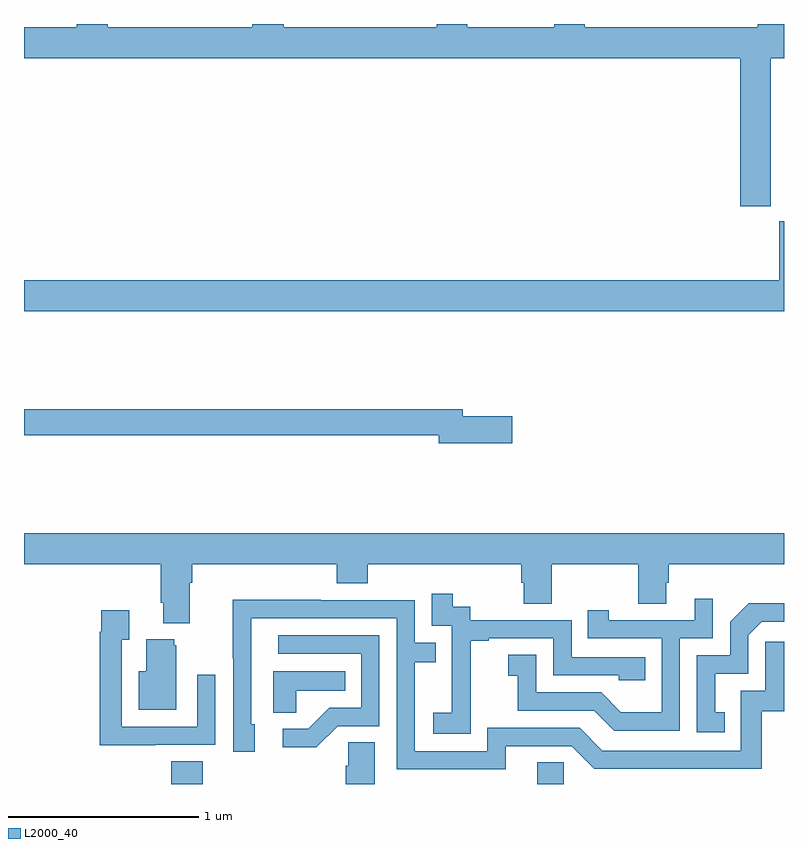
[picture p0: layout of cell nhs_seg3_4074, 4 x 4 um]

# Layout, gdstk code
import gdstk
lib = gdstk.Library(unit=1e-6, precision=1e-09)
def R(c, l, rs):  # rectangles x0, y0, x1, y1
    for r in rs: c.add(gdstk.rectangle(r[:2], r[2:], *l))
def P(c, l, *ps):  # polygons
    for p in ps: c.add(gdstk.Polygon(p, *l))
L2000_40 = (2000, 40)

nhs_seg3_4074 = lib.new_cell('nhs_seg3_4074')
R(nhs_seg3_4074, L2000_40, [(325.775,726.4,325.94,726.521), (327.701,726.4,327.84,726.515)])
P(nhs_seg3_4074, L2000_40, [(328.929,730.22),(329,730.22),(329,730.4),(328.862,730.4),(328.862,730.384),(327.95,730.384),(327.95,730.4),(327.79,730.4),(327.79,730.384),(327.333,730.384),(327.333,730.4),(327.173,730.4),(327.173,730.384),(326.366,730.384),(326.366,730.4),(326.201,730.4),(326.201,730.384),(325.442,730.384),(325.442,730.4),(325.277,730.4),(325.277,730.384),(325,730.384),(325,730.22),(328.769,730.22),(328.769,729.441),(328.929,729.441)],
  [(329,729.361),(328.976,729.361),(328.976,729.052),(325,729.052),(325,728.888),(329,728.888)],
  [(327.571,728.336),(327.31,728.336),(327.31,728.372),(325,728.372),(325,728.236),(327.182,728.236),(327.182,728.194),(327.571,728.194)],
  [(325.873,727.46),(325.886,727.46),(325.886,727.556),(326.645,727.556),(326.645,727.457),(326.81,727.457),(326.81,727.556),(327.617,727.556),(327.617,727.458),(327.629,727.458),(327.629,727.348),(327.777,727.348),(327.777,727.556),(328.234,727.556),(328.234,727.348),(328.381,727.348),(328.381,727.458),(328.394,727.458),(328.394,727.556),(329,727.556),(329,727.72),(325,727.72),(325,727.556),(325.721,727.556),(325.721,727.354),(325.733,727.354),(325.733,727.247),(325.873,727.247)],
  [(327.351,726.871),(327.35,726.871),(327.35,727.155),(327.445,727.155),(327.445,727.167),(327.786,727.167),(327.786,726.972),(328.131,726.972),(328.131,726.945),(328.271,726.945),(328.271,727.068),(327.882,727.068),(327.882,727.263),(327.348,727.263),(327.348,727.332),(327.256,727.332),(327.256,727.402),(327.147,727.402),(327.147,727.233),(327.252,727.233),(327.252,727.004),(327.251,727.004),(327.251,726.775),(327.153,726.775),(327.153,726.665),(327.351,726.665)],
  [(328.452,727.167),(328.626,727.167),(328.626,727.375),(328.529,727.375),(328.529,727.263),(328.078,727.263),(328.078,727.315),(327.967,727.315),(327.967,727.167),(328.356,727.167),(328.356,726.778),(328.142,726.778),(328.038,726.882),(327.696,726.882),(327.696,727.081),(327.549,727.081),(327.549,726.971),(327.598,726.971),(327.598,726.786),(328.001,726.786),(328.106,726.681),(328.452,726.681)],
  [(327.535,726.6),(327.882,726.6),(328.002,726.48),(328.882,726.48),(328.882,726.783),(329,726.783),(329,727.15),(328.902,727.15),(328.902,726.891),(328.773,726.891),(328.773,726.576),(328.044,726.576),(327.924,726.696),(327.438,726.696),(327.438,726.573),(327.057,726.573),(327.057,727.042),(327.167,727.042),(327.167,727.143),(327.057,727.143),(327.057,727.368),(326.561,727.368),(326.561,727.37),(326.098,727.37),(326.098,727.063),(326.1,727.063),(326.1,726.57),(326.215,726.57),(326.215,726.714),(326.196,726.714),(326.196,727.272),(326.961,727.272),(326.961,726.477),(327.535,726.477)],
  [(328.688,726.777),(328.639,726.777),(328.639,726.981),(328.812,726.981),(328.812,727.182),(328.884,727.254),(329,727.254),(329,727.352),(328.814,727.352),(328.716,727.254),(328.716,727.077),(328.542,727.077),(328.542,726.672),(328.688,726.672)],
  [(325.691,726.606),(326.007,726.606),(326.007,726.976),(325.911,726.976),(325.911,726.702),(325.515,726.702),(325.515,727.159),(325.555,727.159),(325.555,727.315),(325.407,727.315),(325.407,727.202),(325.399,727.202),(325.399,726.605),(325.691,726.605)],
  [(326.652,726.705),(326.871,726.705),(326.871,727.182),(326.337,727.182),(326.337,727.086),(326.775,727.086),(326.775,726.801),(326.606,726.801),(326.495,726.69),(326.361,726.69),(326.361,726.593),(326.539,726.593)],
  [(325.801,727.131),(325.79,727.131),(325.79,727.162),(325.643,727.162),(325.643,726.994),(325.604,726.994),(325.604,726.791),(325.801,726.791)],
  [(326.433,726.89),(326.69,726.89),(326.69,726.994),(326.312,726.994),(326.312,726.775),(326.433,726.775)],
  [(326.845,726.62),(326.706,726.62),(326.706,726.497),(326.693,726.497),(326.693,726.4),(326.845,726.4)])

lib.write_gds('nhs_seg3_4074.gds')
